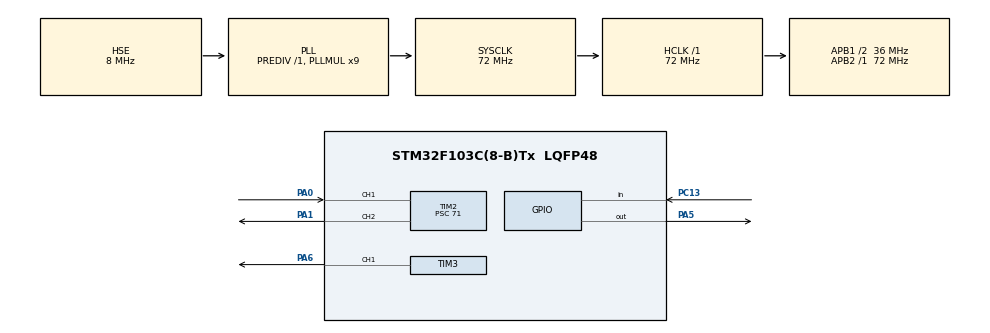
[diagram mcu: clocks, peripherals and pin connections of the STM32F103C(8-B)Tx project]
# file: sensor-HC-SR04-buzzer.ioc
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Mcu.Family=STM32F1
Mcu.Name=STM32F103C(8-B)Tx
Mcu.Package=LQFP48
NVIC.PriorityGroup=NVIC_PRIORITYGROUP_4
PA0-WKUP.Signal=S_TIM2_CH1_ETR
PA1.Signal=S_TIM2_CH2
PA13.Mode=Serial_Wire
PA13.Signal=SYS_JTMS-SWDIO
PA14.Mode=Serial_Wire
PA14.Signal=SYS_JTCK-SWCLK
PA5.Signal=GPIO_Output
PA6.Signal=S_TIM3_CH1
PC13-TAMPER-RTC.Signal=GPIO_Input
PD0-OSC_IN.Mode=HSE-External-Oscillator
PD0-OSC_IN.Signal=RCC_OSC_IN
PD1-OSC_OUT.Mode=HSE-External-Oscillator
PD1-OSC_OUT.Signal=RCC_OSC_OUT
ProjectManager.HeapSize=0x200
ProjectManager.StackSize=0x400
ProjectManager.TargetToolchain=STM32CubeIDE
RCC.AHBFreq_Value=72000000
RCC.APB1CLKDivider=RCC_HCLK_DIV2
RCC.APB1Freq_Value=36000000
RCC.APB1TimFreq_Value=72000000
RCC.APB2Freq_Value=72000000
RCC.APB2TimFreq_Value=72000000
RCC.HCLKFreq_Value=72000000
RCC.PLLMUL=RCC_PLL_MUL9
RCC.PLLSourceVirtual=RCC_PLLSOURCE_HSE
RCC.SYSCLKFreq_VALUE=72000000
RCC.SYSCLKSource=RCC_SYSCLKSOURCE_PLLCLK
RCC.USBFreq_Value=72000000
SH.S_TIM2_CH1_ETR.0=TIM2_CH1,Input_Capture1_from_TI1
SH.S_TIM2_CH2.0=TIM2_CH2,PWM Generation2 CH2
SH.S_TIM3_CH1.0=TIM3_CH1,PWM Generation1 CH1
TIM2.Channel-Input_Capture1_from_TI1=TIM_CHANNEL_1
TIM2.Channel-PWM\ Generation2\ CH2=TIM_CHANNEL_2
TIM2.Period=24999
TIM2.Prescaler=71
TIM2.Pulse-PWM\ Generation2\ CH2=10
TIM3.Channel-PWM\ Generation1\ CH1=TIM_CHANNEL_1
TIM3.Period=199
TIM3.Prescaler=71
TIM3.Pulse-PWM\ Generation1\ CH1=2500
VP_TIM2_VS_ClockSourceINT.Mode=Internal
VP_TIM3_VS_ClockSourceINT.Mode=Internal
board=custom

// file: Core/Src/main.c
/* USER CODE BEGIN Header */
/**
  ******************************************************************************
  * @file           : main.c
  * @brief          : Main program body
  ******************************************************************************
  * @attention
  *
  * Copyright (c) 2025 STMicroelectronics.
  * All rights reserved.
  *
  * This software is licensed under terms that can be found in the LICENSE file
  * in the root directory of this software component.
  * If no LICENSE file comes with this software, it is provided AS-IS.
  *
  ******************************************************************************
  */
/* USER CODE END Header */
#include "main.h"

/* USER CODE BEGIN PD */
#define DISTANCE_THRESHOLD 300 // mm
/* USER CODE END PD */

TIM_HandleTypeDef htim2;
TIM_HandleTypeDef htim3;

/* USER CODE BEGIN PV */
volatile uint32_t ulRisingValue = 0;
volatile uint32_t ulDistance = 0; // mm
volatile uint8_t ucNewMeasure = 0;
volatile uint8_t buzzing = 1;

#define FPWM 199
volatile uint32_t active_ton = FPWM * 0.65;
/* USER CODE END PV */

void SystemClock_Config(void);
static void MX_GPIO_Init(void);
static void MX_TIM2_Init(void);
static void MX_TIM3_Init(void);

int main(void)
{

  /* MCU Configuration--------------------------------------------------------*/

  /* Reset of all peripherals, Initializes the Flash interface and the Systick. */
  HAL_Init();

  /* Configure the system clock */
  SystemClock_Config();

  /* Initialize all configured peripherals */
  MX_GPIO_Init();
  MX_TIM2_Init();
  MX_TIM3_Init();
  /* USER CODE BEGIN 2 */
	RCC->APB2ENR |= (0x01 << 4); // Enable GPIOC clock
	GPIOC->CRH &= ~(0xF << 20); // Clear CNF13 & MODE13
  GPIOC->CRH |= (0x01 << 20); // output mode, max speed 10 MHz
  /* USER CODE END 2 */

  /* Infinite loop */
  /* USER CODE BEGIN WHILE */
  while (1)
  {
	  if(ucNewMeasure)
	  {
		  uint32_t ulDistanceCopy = 0;
		  // #Critical section: Race condition on shared resources
		  __disable_irq();
		  ucNewMeasure = 0;
		  ulDistanceCopy = ulDistance;
		  __enable_irq();
		  // #End of Critical section

		  if (ulDistanceCopy < DISTANCE_THRESHOLD && !buzzing) {
        // HAL_TIM_OC_Start(&htim3, TIM_CHANNEL_1); // Activando la salida del canal 2
        GPIOC->ODR |= (1 << 13); // Enciende el LED
        buzzing = 1;
		  } else if (ulDistanceCopy >= DISTANCE_THRESHOLD && buzzing) {
        // HAL_TIM_OC_Stop(&htim3, TIM_CHANNEL_1); // Desactivando la salida del canal 2
        GPIOC->ODR &= ~(1 << 13); // Apaga el LED
        buzzing = 0;
		  }
	}
    /* USER CODE END WHILE */

  }
}

void SystemClock_Config(void)
{
  RCC_OscInitTypeDef RCC_OscInitStruct = {0};
  RCC_ClkInitTypeDef RCC_ClkInitStruct = {0};

  /** Initializes the RCC Oscillators according to the specified parameters
  * in the RCC_OscInitTypeDef structure.
  */
  RCC_OscInitStruct.OscillatorType = RCC_OSCILLATORTYPE_HSE;
  RCC_OscInitStruct.HSEState = RCC_HSE_ON;
  RCC_OscInitStruct.HSEPredivValue = RCC_HSE_PREDIV_DIV1;
  RCC_OscInitStruct.HSIState = RCC_HSI_ON;
  RCC_OscInitStruct.PLL.PLLState = RCC_PLL_ON;
  RCC_OscInitStruct.PLL.PLLSource = RCC_PLLSOURCE_HSE;
  RCC_OscInitStruct.PLL.PLLMUL = RCC_PLL_MUL9;
  if (HAL_RCC_OscConfig(&RCC_OscInitStruct) != HAL_OK)
  {
    Error_Handler();
  }

  /** Initializes the CPU, AHB and APB buses clocks
  */
  RCC_ClkInitStruct.ClockType = RCC_CLOCKTYPE_HCLK|RCC_CLOCKTYPE_SYSCLK
                              |RCC_CLOCKTYPE_PCLK1|RCC_CLOCKTYPE_PCLK2;
  RCC_ClkInitStruct.SYSCLKSource = RCC_SYSCLKSOURCE_PLLCLK;
  RCC_ClkInitStruct.AHBCLKDivider = RCC_SYSCLK_DIV1;
  RCC_ClkInitStruct.APB1CLKDivider = RCC_HCLK_DIV2;
  RCC_ClkInitStruct.APB2CLKDivider = RCC_HCLK_DIV1;

  if (HAL_RCC_ClockConfig(&RCC_ClkInitStruct, FLASH_LATENCY_2) != HAL_OK)
  {
    Error_Handler();
  }
}

static void MX_TIM2_Init(void)
{

  TIM_ClockConfigTypeDef sClockSourceConfig = {0};
  TIM_MasterConfigTypeDef sMasterConfig = {0};
  TIM_IC_InitTypeDef sConfigIC = {0};
  TIM_OC_InitTypeDef sConfigOC = {0};

  htim2.Instance = TIM2;
  htim2.Init.Prescaler = 71;
  htim2.Init.CounterMode = TIM_COUNTERMODE_UP;
  htim2.Init.Period = 24999;
  htim2.Init.ClockDivision = TIM_CLOCKDIVISION_DIV1;
  htim2.Init.AutoReloadPreload = TIM_AUTORELOAD_PRELOAD_DISABLE;
  if (HAL_TIM_Base_Init(&htim2) != HAL_OK)
  {
    Error_Handler();
  }
  sClockSourceConfig.ClockSource = TIM_CLOCKSOURCE_INTERNAL;
  if (HAL_TIM_ConfigClockSource(&htim2, &sClockSourceConfig) != HAL_OK)
  {
    Error_Handler();
  }
  if (HAL_TIM_IC_Init(&htim2) != HAL_OK)
  {
    Error_Handler();
  }
  if (HAL_TIM_PWM_Init(&htim2) != HAL_OK)
  {
    Error_Handler();
  }
  sMasterConfig.MasterOutputTrigger = TIM_TRGO_RESET;
  sMasterConfig.MasterSlaveMode = TIM_MASTERSLAVEMODE_DISABLE;
  if (HAL_TIMEx_MasterConfigSynchronization(&htim2, &sMasterConfig) != HAL_OK)
  {
    Error_Handler();
  }
  sConfigIC.ICPolarity = TIM_INPUTCHANNELPOLARITY_RISING;
  sConfigIC.ICSelection = TIM_ICSELECTION_DIRECTTI;
  sConfigIC.ICPrescaler = TIM_ICPSC_DIV1;
  sConfigIC.ICFilter = 0;
  if (HAL_TIM_IC_ConfigChannel(&htim2, &sConfigIC, TIM_CHANNEL_1) != HAL_OK)
  {
    Error_Handler();
  }
  sConfigOC.OCMode = TIM_OCMODE_PWM1;
  sConfigOC.Pulse = 10;
  sConfigOC.OCPolarity = TIM_OCPOLARITY_HIGH;
  sConfigOC.OCFastMode = TIM_OCFAST_DISABLE;
  if (HAL_TIM_PWM_ConfigChannel(&htim2, &sConfigOC, TIM_CHANNEL_2) != HAL_OK)
  {
    Error_Handler();
  }
  /* USER CODE BEGIN TIM2_Init 2 */
  HAL_NVIC_SetPriority(TIM2_IRQn, 0, 0);
  HAL_NVIC_EnableIRQ(TIM2_IRQn); // Habilita interrupciones del TIM2
  //HAL_TIM_Base_Start_IT(&htim2); // Habilitar cuenta del TIM2
  // HAL_TIM_IC_Start_IT(&htim2, TIM_CHANNEL_1); // Habilita cuenta y entrada IC canal 1
  HAL_TIM_OC_Start(&htim2, TIM_CHANNEL_1); // Activando la salida del canal 2
  TIM3->CCR1 = active_ton; // 65%
  /* USER CODE END TIM2_Init 2 */
  HAL_TIM_MspPostInit(&htim2);

}

static void MX_TIM3_Init(void)
{

  TIM_ClockConfigTypeDef sClockSourceConfig = {0};
  TIM_MasterConfigTypeDef sMasterConfig = {0};
  TIM_OC_InitTypeDef sConfigOC = {0};

  htim3.Instance = TIM3;
  htim3.Init.Prescaler = 71;
  htim3.Init.CounterMode = TIM_COUNTERMODE_UP;
  htim3.Init.Period = 199;
  htim3.Init.ClockDivision = TIM_CLOCKDIVISION_DIV1;
  htim3.Init.AutoReloadPreload = TIM_AUTORELOAD_PRELOAD_DISABLE;
  if (HAL_TIM_Base_Init(&htim3) != HAL_OK)
  {
    Error_Handler();
  }
  sClockSourceConfig.ClockSource = TIM_CLOCKSOURCE_INTERNAL;
  if (HAL_TIM_ConfigClockSource(&htim3, &sClockSourceConfig) != HAL_OK)
  {
    Error_Handler();
  }
  if (HAL_TIM_PWM_Init(&htim3) != HAL_OK)
  {
    Error_Handler();
  }
  sMasterConfig.MasterOutputTrigger = TIM_TRGO_RESET;
  sMasterConfig.MasterSlaveMode = TIM_MASTERSLAVEMODE_DISABLE;
  if (HAL_TIMEx_MasterConfigSynchronization(&htim3, &sMasterConfig) != HAL_OK)
  {
    Error_Handler();
  }
  sConfigOC.OCMode = TIM_OCMODE_PWM1;
  sConfigOC.Pulse = 2500;
  sConfigOC.OCPolarity = TIM_OCPOLARITY_HIGH;
  sConfigOC.OCFastMode = TIM_OCFAST_DISABLE;
  if (HAL_TIM_PWM_ConfigChannel(&htim3, &sConfigOC, TIM_CHANNEL_1) != HAL_OK)
  {
    Error_Handler();
  }
  /* USER CODE BEGIN TIM3_Init 2 */
  // HAL_TIM_OC_Start(&htim3, TIM_CHANNEL_1);
  /* USER CODE END TIM3_Init 2 */
  HAL_TIM_MspPostInit(&htim3);

}

static void MX_GPIO_Init(void)
{
  GPIO_InitTypeDef GPIO_InitStruct = {0};

  /* GPIO Ports Clock Enable */
  __HAL_RCC_GPIOC_CLK_ENABLE();
  __HAL_RCC_GPIOD_CLK_ENABLE();
  __HAL_RCC_GPIOA_CLK_ENABLE();

  /*Configure GPIO pin Output Level */
  HAL_GPIO_WritePin(GPIOA, GPIO_PIN_5, GPIO_PIN_RESET);

  /*Configure GPIO pin : PC13 */
  GPIO_InitStruct.Pin = GPIO_PIN_13;
  GPIO_InitStruct.Mode = GPIO_MODE_INPUT;
  GPIO_InitStruct.Pull = GPIO_NOPULL;
  HAL_GPIO_Init(GPIOC, &GPIO_InitStruct);

  /*Configure GPIO pin : PA5 */
  GPIO_InitStruct.Pin = GPIO_PIN_5;
  GPIO_InitStruct.Mode = GPIO_MODE_OUTPUT_PP;
  GPIO_InitStruct.Pull = GPIO_NOPULL;
  GPIO_InitStruct.Speed = GPIO_SPEED_FREQ_LOW;
  HAL_GPIO_Init(GPIOA, &GPIO_InitStruct);

}

/* USER CODE BEGIN 4 */
void TIM2_IRQHandler(void)
{
	// Check if Update Interrupt occurred
	/*if (TIM2->SR & TIM_SR_UIF)
	{
		TIM2->SR &= ~TIM_SR_UIF; // Clear the flag

		// Perform action (e.g., toggle LED on PA5)
		GPIOA->ODR ^= (1 << 5);
	}*/
	if(TIM2->SR & TIM_SR_CC1IF)
	{
		TIM2->SR &= ~TIM_SR_CC1IF; // Limpiar bandera

		// Verificar cual flanco esta activo
		if ((TIM2->CCER & TIM_CCER_CC1P) == 0)
		{
			// Guarda cuenta de timer en el cambio de flanco
			ulRisingValue = TIM2->CCR1;

			// Configurar flanco descendete
			TIM2->CCER |= TIM_CCER_CC1P;
		}
		else
		{
			// Calcular el ancho de pulso y distancia
			ulDistance = (TIM2->CCR1 - ulRisingValue) * 0.17;

			// Bandera de nuevo dato
			ucNewMeasure = 1;

			// Configurar flanco ascendente
			TIM2->CCER &= ~TIM_CCER_CC1P;
		}
	}
}

void press_button_1(void)
{
	active_ton += FPWM * 0.05; // +5%
	TIM3->CCR1 = active_ton;
}
void press_button_2(void)
{
	active_ton -= FPWM * 0.05; // -5%
	TIM3->CCR1 = active_ton;
}

/* USER CODE END 4 */

void Error_Handler(void)
{
  __disable_irq();
  while (1)
  {
  }
}
